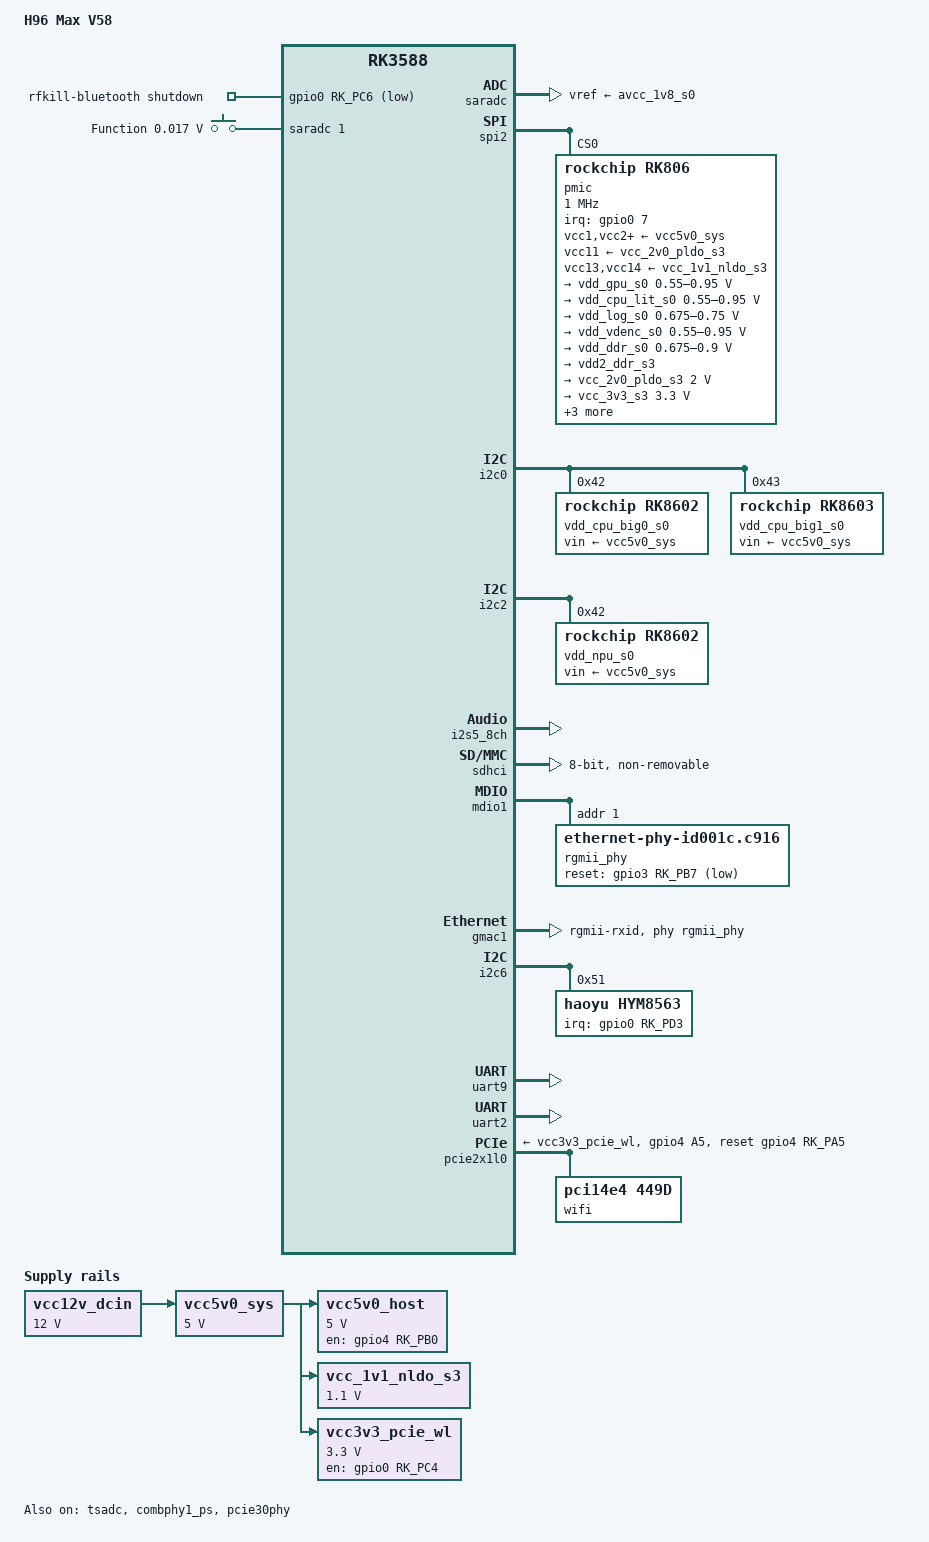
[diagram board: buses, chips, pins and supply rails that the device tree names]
// SPDX-License-Identifier: (GPL-2.0+ OR MIT)
/*
 * Copyright (C) 2023 Matthew Croughan <matthew.croughan@nix.how>
 * WIP DT for H96 Max V58 TV Box
 */


/dts-v1/;
#include <dt-bindings/gpio/gpio.h>
#include <dt-bindings/input/input.h>
#include <dt-bindings/pinctrl/rockchip.h>
#include <dt-bindings/soc/rockchip,vop2.h>
#include <dt-bindings/usb/pd.h>
#include "rk3588.dtsi"

/ {
	model = "H96 Max V58";
	compatible = "rockchip,rk3588";

	aliases {
		ethernet0 = &gmac1;
		mmc0 = &sdhci;
	};

	chosen {
		stdout-path = "serial2:1500000n8";
	};

	// Bluetooth isn't working
	bluetooth-rfkill {
		compatible = "rfkill-gpio";
		label = "rfkill-bluetooth";
		radio-type = "bluetooth";
		shutdown-gpios = <&gpio0 RK_PC6 GPIO_ACTIVE_LOW>;
		pinctrl-names = "default";
		pinctrl-0 = <&bt_reset_pin>;
	};

	vcc5v0_host: vcc5v0-host-regulator {
		compatible = "regulator-fixed";
		regulator-name = "vcc5v0_host";
		regulator-boot-on;
		regulator-always-on;
		regulator-min-microvolt = <5000000>;
		regulator-max-microvolt = <5000000>;
		enable-active-high;
		gpio = <&gpio4 RK_PB0 GPIO_ACTIVE_HIGH>;
		pinctrl-names = "default";
		pinctrl-0 = <&vcc5v0_host_en>;
		vin-supply = <&vcc5v0_sys>;
	};

// I couldn't get OTG to work...
//	vcc5v0_otg: vcc5v0-otg-regulator {
//		compatible = "regulator-fixed";
//		enable-active-high;
//		gpio = <&gpio4 RK_PA7 GPIO_ACTIVE_HIGH>;
//		pinctrl-names = "default";
//		pinctrl-0 = <&vcc5v0_otg_en>;
//		regulator-name = "vcc5v0_otg";
//		regulator-always-on;
//	};

	vcc5v0_sys: vcc5v0-sys-regulator {
		compatible = "regulator-fixed";
		regulator-name = "vcc5v0_sys";
		regulator-always-on;
		regulator-boot-on;
		regulator-min-microvolt = <5000000>;
		regulator-max-microvolt = <5000000>;
		vin-supply = <&vcc12v_dcin>;
	};

	vcc12v_dcin: vcc12v-dcin-regulator {
		compatible = "regulator-fixed";
		regulator-name = "vcc12v_dcin";
		regulator-always-on;
		regulator-boot-on;
		regulator-min-microvolt = <12000000>;
		regulator-max-microvolt = <12000000>;
	};

	vcc_1v1_nldo_s3: vcc-1v1-nldo-s3-regulator {
		compatible = "regulator-fixed";
		regulator-name = "vcc_1v1_nldo_s3";
		regulator-always-on;
		regulator-boot-on;
		regulator-min-microvolt = <1100000>;
		regulator-max-microvolt = <1100000>;
		vin-supply = <&vcc5v0_sys>;
	};

	vcc3v3_pcie_wl: vcc3v3-pcie-wl-regulator {
		compatible = "regulator-fixed";
		enable-active-high;
		gpios = <&gpio0 RK_PC4 GPIO_ACTIVE_HIGH>;
		pinctrl-names = "default";
//		pinctrl-0 = <&gpio3 RK_PD5 GPIO_ACTIVE_HIGH>; //probs not
		regulator-name = "vcc3v3_pcie_wl";
		regulator-min-microvolt = <3300000>;
		regulator-max-microvolt = <3300000>;
		startup-delay-us = <5000>;
		vin-supply = <&vcc5v0_sys>;
	};

	adc-keys {
		compatible = "adc-keys";
		io-channels = <&saradc 1>;
		io-channel-names = "buttons";
		keyup-threshold-microvolt = <1800000>;
		poll-interval = <100>;

		button-function {
			label = "Function";
			linux,code = <KEY_FN>;
			press-threshold-microvolt = <17000>;
		};
	};
};

&saradc {
	vref-supply = <&avcc_1v8_s0>;
	status = "okay";
};

&tsadc {
	status = "okay";
};

&spi2 {
	status = "okay";
	assigned-clocks = <&cru CLK_SPI2>;
	assigned-clock-rates = <200000000>;
	pinctrl-names = "default";
	pinctrl-0 = <&spi2m2_cs0 &spi2m2_pins>;
	num-cs = <1>;

	pmic@0 {
		compatible = "rockchip,rk806";
		spi-max-frequency = <1000000>;
		reg = <0x0>;

		interrupt-parent = <&gpio0>;
		interrupts = <7 IRQ_TYPE_LEVEL_LOW>;

		pinctrl-names = "default";
		pinctrl-0 = <&pmic_pins>, <&rk806_dvs1_null>,
			    <&rk806_dvs2_null>, <&rk806_dvs3_null>;

		system-power-controller;

		vcc1-supply = <&vcc5v0_sys>;
		vcc2-supply = <&vcc5v0_sys>;
		vcc3-supply = <&vcc5v0_sys>;
		vcc4-supply = <&vcc5v0_sys>;
		vcc5-supply = <&vcc5v0_sys>;
		vcc6-supply = <&vcc5v0_sys>;
		vcc7-supply = <&vcc5v0_sys>;
		vcc8-supply = <&vcc5v0_sys>;
		vcc9-supply = <&vcc5v0_sys>;
		vcc10-supply = <&vcc5v0_sys>;
		vcc11-supply = <&vcc_2v0_pldo_s3>;
		vcc12-supply = <&vcc5v0_sys>;
		vcc13-supply = <&vcc_1v1_nldo_s3>;
		vcc14-supply = <&vcc_1v1_nldo_s3>;
		vcca-supply = <&vcc5v0_sys>;

		gpio-controller;
		#gpio-cells = <2>;

		rk806_dvs1_null: dvs1-null-pins {
			pins = "gpio_pwrctrl1";
			function = "pin_fun0";
		};

		rk806_dvs2_null: dvs2-null-pins {
			pins = "gpio_pwrctrl2";
			function = "pin_fun0";
		};

		rk806_dvs3_null: dvs3-null-pins {
			pins = "gpio_pwrctrl3";
			function = "pin_fun0";
		};

		regulators {
			vdd_gpu_s0: vdd_gpu_mem_s0: dcdc-reg1 {
				regulator-boot-on;
				regulator-min-microvolt = <550000>;
				regulator-max-microvolt = <950000>;
				regulator-ramp-delay = <12500>;
				regulator-name = "vdd_gpu_s0";
				regulator-enable-ramp-delay = <400>;

				regulator-state-mem {
					regulator-off-in-suspend;
				};
			};

			vdd_cpu_lit_s0: vdd_cpu_lit_mem_s0: dcdc-reg2 {
				regulator-always-on;
				regulator-boot-on;
				regulator-min-microvolt = <550000>;
				regulator-max-microvolt = <950000>;
				regulator-ramp-delay = <12500>;
				regulator-name = "vdd_cpu_lit_s0";

				regulator-state-mem {
					regulator-off-in-suspend;
				};
			};

			vdd_log_s0: dcdc-reg3 {
				regulator-always-on;
				regulator-boot-on;
				regulator-min-microvolt = <675000>;
				regulator-max-microvolt = <750000>;
				regulator-ramp-delay = <12500>;
				regulator-name = "vdd_log_s0";

				regulator-state-mem {
					regulator-off-in-suspend;
					regulator-suspend-microvolt = <750000>;
				};
			};

			vdd_vdenc_s0: vdd_vdenc_mem_s0: dcdc-reg4 {
				regulator-always-on;
				regulator-boot-on;
				regulator-min-microvolt = <550000>;
				regulator-max-microvolt = <950000>;
				regulator-ramp-delay = <12500>;
				regulator-name = "vdd_vdenc_s0";

				regulator-state-mem {
					regulator-off-in-suspend;
				};
			};

			vdd_ddr_s0: dcdc-reg5 {
				regulator-always-on;
				regulator-boot-on;
				regulator-min-microvolt = <675000>;
				regulator-max-microvolt = <900000>;
				regulator-ramp-delay = <12500>;
				regulator-name = "vdd_ddr_s0";

				regulator-state-mem {
					regulator-off-in-suspend;
					regulator-suspend-microvolt = <850000>;
				};
			};

			vdd2_ddr_s3: dcdc-reg6 {
				regulator-always-on;
				regulator-boot-on;
				regulator-name = "vdd2_ddr_s3";

				regulator-state-mem {
					regulator-on-in-suspend;
				};
			};

			vcc_2v0_pldo_s3: dcdc-reg7 {
				regulator-always-on;
				regulator-boot-on;
				regulator-min-microvolt = <2000000>;
				regulator-max-microvolt = <2000000>;
				regulator-ramp-delay = <12500>;
				regulator-name = "vdd_2v0_pldo_s3";

				regulator-state-mem {
					regulator-on-in-suspend;
					regulator-suspend-microvolt = <2000000>;
				};
			};

			vcc_3v3_s3: dcdc-reg8 {
				regulator-always-on;
				regulator-boot-on;
				regulator-min-microvolt = <3300000>;
				regulator-max-microvolt = <3300000>;
				regulator-name = "vcc_3v3_s3";

				regulator-state-mem {
					regulator-on-in-suspend;
					regulator-suspend-microvolt = <3300000>;
				};
			};

			vddq_ddr_s0: dcdc-reg9 {
				regulator-always-on;
				regulator-boot-on;
				regulator-name = "vddq_ddr_s0";

				regulator-state-mem {
					regulator-off-in-suspend;
				};
			};

			vcc_1v8_s3: dcdc-reg10 {
				regulator-always-on;
				regulator-boot-on;
				regulator-min-microvolt = <1800000>;
				regulator-max-microvolt = <1800000>;
				regulator-name = "vcc_1v8_s3";

				regulator-state-mem {
					regulator-on-in-suspend;
					regulator-suspend-microvolt = <1800000>;
				};
			};

			avcc_1v8_s0: pldo-reg1 {
				regulator-always-on;
				regulator-boot-on;
				regulator-min-microvolt = <1800000>;
				regulator-max-microvolt = <1800000>;
				regulator-name = "avcc_1v8_s0";

				regulator-state-mem {
					regulator-off-in-suspend;
				};
			};

			vcc_1v8_s0: pldo-reg2 {
				regulator-always-on;
				regulator-boot-on;
				regulator-min-microvolt = <1800000>;
				regulator-max-microvolt = <1800000>;
				regulator-name = "vcc_1v8_s0";

				regulator-state-mem {
					regulator-off-in-suspend;
					regulator-suspend-microvolt = <1800000>;
				};
			};

			avdd_1v2_s0: pldo-reg3 {
				regulator-always-on;
				regulator-boot-on;
				regulator-min-microvolt = <1200000>;
				regulator-max-microvolt = <1200000>;
				regulator-name = "avdd_1v2_s0";

				regulator-state-mem {
					regulator-off-in-suspend;
				};
			};

			vcc_3v3_s0: pldo-reg4 {
				regulator-always-on;
				regulator-boot-on;
				regulator-min-microvolt = <3300000>;
				regulator-max-microvolt = <3300000>;
				regulator-ramp-delay = <12500>;
				regulator-name = "vcc_3v3_s0";

				regulator-state-mem {
					regulator-off-in-suspend;
				};
			};

			vccio_sd_s0: pldo-reg5 {
				regulator-always-on;
				regulator-boot-on;
				regulator-min-microvolt = <1800000>;
				regulator-max-microvolt = <3300000>;
				regulator-ramp-delay = <12500>;
				regulator-name = "vccio_sd_s0";

				regulator-state-mem {
					regulator-off-in-suspend;
				};
			};

			pldo6_s3: pldo-reg6 {
				regulator-always-on;
				regulator-boot-on;
				regulator-min-microvolt = <1800000>;
				regulator-max-microvolt = <1800000>;
				regulator-name = "pldo6_s3";

				regulator-state-mem {
					regulator-on-in-suspend;
					regulator-suspend-microvolt = <1800000>;
				};
			};

			vdd_0v75_s3: nldo-reg1 {
				regulator-always-on;
				regulator-boot-on;
				regulator-min-microvolt = <750000>;
				regulator-max-microvolt = <750000>;
				regulator-name = "vdd_0v75_s3";

				regulator-state-mem {
					regulator-on-in-suspend;
					regulator-suspend-microvolt = <750000>;
				};
			};

			vdd_ddr_pll_s0: nldo-reg2 {
				regulator-always-on;
				regulator-boot-on;
				regulator-min-microvolt = <850000>;
				regulator-max-microvolt = <850000>;
				regulator-name = "vdd_ddr_pll_s0";

				regulator-state-mem {
					regulator-off-in-suspend;
					regulator-suspend-microvolt = <850000>;
				};
			};

			avdd_0v75_s0: nldo-reg3 {
				regulator-always-on;
				regulator-boot-on;
				regulator-min-microvolt = <750000>;
				regulator-max-microvolt = <750000>;
				regulator-name = "avdd_0v75_s0";

				regulator-state-mem {
					regulator-off-in-suspend;
				};
			};

			vdd_0v85_s0: nldo-reg4 {
				regulator-always-on;
				regulator-boot-on;
				regulator-min-microvolt = <850000>;
				regulator-max-microvolt = <850000>;
				regulator-name = "vdd_0v85_s0";

				regulator-state-mem {
					regulator-off-in-suspend;
				};
			};

			vdd_0v75_s0: nldo-reg5 {
				regulator-always-on;
				regulator-boot-on;
				regulator-min-microvolt = <750000>;
				regulator-max-microvolt = <750000>;
				regulator-name = "vdd_0v75_s0";

				regulator-state-mem {
					regulator-off-in-suspend;
				};
			};
		};
	};
};

&cpu_b0 {
	cpu-supply = <&vdd_cpu_big0_s0>;
};

&cpu_b1 {
	cpu-supply = <&vdd_cpu_big0_s0>;
};

&cpu_b2 {
	cpu-supply = <&vdd_cpu_big1_s0>;
};

&cpu_b3 {
	cpu-supply = <&vdd_cpu_big1_s0>;
};

&cpu_l0 {
	cpu-supply = <&vdd_cpu_lit_s0>;
};

&cpu_l1 {
	cpu-supply = <&vdd_cpu_lit_s0>;
};

&cpu_l2 {
	cpu-supply = <&vdd_cpu_lit_s0>;
};

&cpu_l3 {
	cpu-supply = <&vdd_cpu_lit_s0>;
};

&i2c0 {
	pinctrl-names = "default";
	pinctrl-0 = <&i2c0m2_xfer>;
	status = "okay";

	vdd_cpu_big0_s0: regulator@42 {
		compatible = "rockchip,rk8602";
		reg = <0x42>;
		fcs,suspend-voltage-selector = <1>;
		regulator-name = "vdd_cpu_big0_s0";
		regulator-always-on;
		regulator-boot-on;
		regulator-min-microvolt = <550000>;
		regulator-max-microvolt = <1050000>;
		regulator-ramp-delay = <2300>;
		vin-supply = <&vcc5v0_sys>;

		regulator-state-mem {
			regulator-off-in-suspend;
		};
	};

	vdd_cpu_big1_s0: regulator@43 {
		compatible = "rockchip,rk8603", "rockchip,rk8602";
		reg = <0x43>;
		fcs,suspend-voltage-selector = <1>;
		regulator-name = "vdd_cpu_big1_s0";
		regulator-always-on;
		regulator-boot-on;
		regulator-min-microvolt = <550000>;
		regulator-max-microvolt = <1050000>;
		regulator-ramp-delay = <2300>;
		vin-supply = <&vcc5v0_sys>;

		regulator-state-mem {
			regulator-off-in-suspend;
		};
	};
};

&i2c2 {
	status = "okay";

	vdd_npu_s0: regulator@42 {
		compatible = "rockchip,rk8602";
		reg = <0x42>;
		rockchip,suspend-voltage-selector = <1>;
		regulator-name = "vdd_npu_s0";
		regulator-always-on;
		regulator-boot-on;
		regulator-min-microvolt = <550000>;
		regulator-max-microvolt = <950000>;
		regulator-ramp-delay = <2300>;
		vin-supply = <&vcc5v0_sys>;

		regulator-state-mem {
			regulator-off-in-suspend;
		};
	};
};


// Probably not needed
//&combphy0_ps {
//	status = "okay";
//};

&combphy1_ps {
	status = "okay";
};

// Probably not needed
//&combphy2_psu {
//	status = "okay";
//};


// Would be for hdmi-audio if I could get it working
&i2s5_8ch {
	status = "okay";
};

&sdhci {
	bus-width = <8>;
	no-sdio;
	no-sd;
	non-removable;
	mmc-hs400-1_8v;
	mmc-hs400-enhanced-strobe;
	non-removable;
	status = "okay";
};

&mdio1 {
	rgmii_phy: ethernet-phy@1 {
		/* RTL8211F */
		compatible = "ethernet-phy-id001c.c916",
			     "ethernet-phy-ieee802.3-c22";
		reg = <0x1>;
		pinctrl-names = "default";
		pinctrl-0 = <&rtl8211f_rst>;
		reset-assert-us = <15000>;
		reset-deassert-us = <50000>;
		reset-gpios = <&gpio3 RK_PB7 GPIO_ACTIVE_LOW>;
	};
};

&gmac1 {
	clock_in_out = "output";
	phy-handle = <&rgmii_phy>;
	phy-mode = "rgmii-rxid";
	pinctrl-0 = <&gmac1_miim
		     &gmac1_tx_bus2
		     &gmac1_rx_bus2
		     &gmac1_rgmii_clk
		     &gmac1_rgmii_bus>;
	pinctrl-names = "default";
	rx_delay = <0x00>;
	tx_delay = <0x42>;
	status = "okay";
};

&pinctrl {
	rtl8211f {
		rtl8211f_rst: rtl8211f-rst {
			rockchip,pins = <4 RK_PB3 RK_FUNC_GPIO &pcfg_pull_none>;
		};
	};
	usb {
		vcc5v0_host_en: vcc5v0-usb-host-en {
			rockchip,pins = <4 RK_PB0 RK_FUNC_GPIO &pcfg_pull_none>;
		};

		vcc5v0_otg_en: vcc5v0-otg-en {
			rockchip,pins = <4 RK_PA7 RK_FUNC_GPIO &pcfg_pull_none>;
		};
	};
	hym8563 {
		hym8563_int: hym8563-int {
			rockchip,pins = <0 RK_PD3 RK_FUNC_GPIO &pcfg_pull_up>;
		};
	};
	pcie2 {
		pcie2_0_rst: pcie2-0-rst {
			rockchip,pins = <4 RK_PA5 RK_FUNC_GPIO &pcfg_pull_none>;
		};
	};
	wireless-bluetooth {
		bt_reset_pin: bt-reset-pin {
			rockchip,pins = <0 RK_PC6 RK_FUNC_GPIO &pcfg_pull_none>;
		};

		bt_wake_pin: bt-wake-pin {
			rockchip,pins = <0 RK_PC5 RK_FUNC_GPIO &pcfg_pull_up>;
		};

		bt_wake_host_irq: bt-wake-host-irq {
			rockchip,pins = <0 RK_PA0 RK_FUNC_GPIO &pcfg_pull_down>;
		};
	};
};

&i2c6 {
	status = "okay";
	hym8563: rtc@51 {
		compatible = "haoyu,hym8563";
		reg = <0x51>;
		#clock-cells = <0>;
		clock-output-names = "hym8563";
		pinctrl-names = "default";
		pinctrl-0 = <&hym8563_int>;
		interrupt-parent = <&gpio0>;
		interrupts = <RK_PD3 IRQ_TYPE_LEVEL_LOW>;
		wakeup-source;
	};
};

// For bluetooth, but isn't working
&uart9 {
	pinctrl-names = "default";
	pinctrl-0 = <&uart9m2_xfer &uart9m2_ctsn>;
	status = "okay";
};

&uart2 {
	pinctrl-0 = <&uart2m0_xfer>;
	status = "okay";
};

// Not sure if this is necessary
&pcie30phy {
	status = "okay";
};

&pcie2x1l0 {
	pinctrl-names = "default";
	pinctrl-0 = <&pcie2_0_rst>;
	reset-gpios = <&gpio4 RK_PA5 GPIO_ACTIVE_HIGH>;
	vpcie3v3-supply = <&vcc3v3_pcie_wl>;
	status = "okay";
	pcie@0,0 {
		status = "okay";
		reg = <0x200000 0 0 0 0>;
		#address-cells = <3>;
		#size-cells = <2>;
		ranges;
		device_type = "pci";
		bus-range = <0x20 0x2f>;

		wifi: wifi@0,0 {
			status = "okay";
			compatible = "pci14e4,449d";
			reg = <0x210000 0 0 0 0>;
			clocks = <&hym8563>;
			clock-names = "32k";
		};
	};
};
